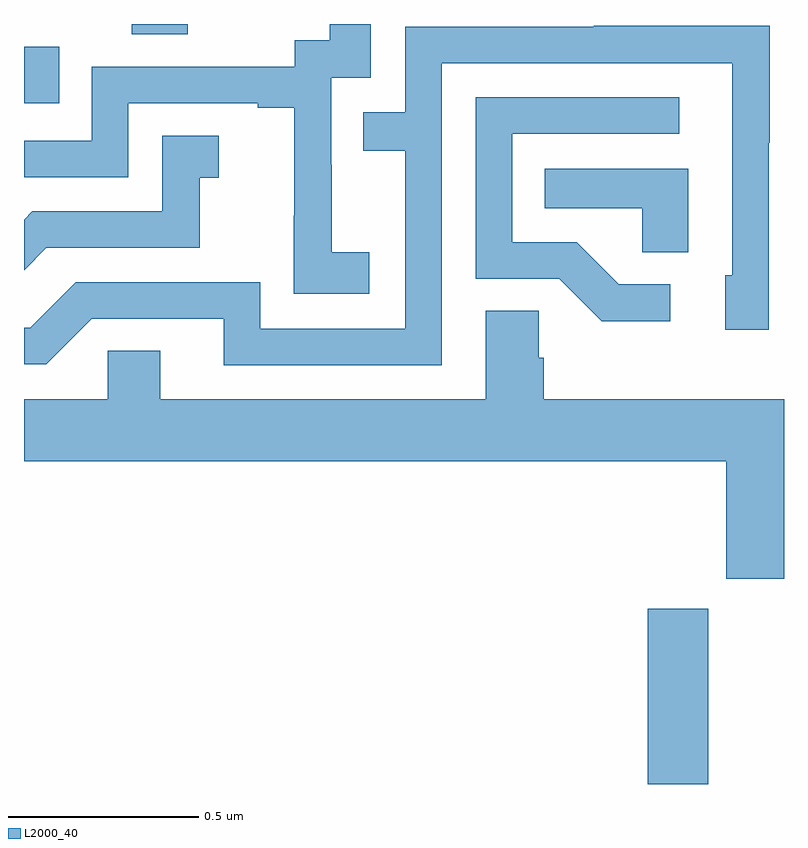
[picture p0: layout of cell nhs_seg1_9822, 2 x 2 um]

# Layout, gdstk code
import gdstk
lib = gdstk.Library(unit=1e-6, precision=1e-09)
def R(c, l, rs):  # rectangles x0, y0, x1, y1
    for r in rs: c.add(gdstk.rectangle(r[:2], r[2:], *l))
def P(c, l, *ps):  # polygons
    for p in ps: c.add(gdstk.Polygon(p, *l))
L2000_40 = (2000, 40)

nhs_seg1_9822 = lib.new_cell('nhs_seg1_9822')
R(nhs_seg1_9822, L2000_40, [(234.641,568.199,234.801,568.66), (233,569.991,233.093,570.139), (233.284,570.172,233.431,570.199)])
P(nhs_seg1_9822, L2000_40, [(233.908,569.599),(233.81,569.599),(233.81,569.828),(233.808,569.828),(233.808,570.057),(233.913,570.057),(233.913,570.199),(233.805,570.199),(233.805,570.156),(233.712,570.156),(233.712,570.087),(233.178,570.087),(233.178,569.892),(233,569.892),(233,569.796),(233.274,569.796),(233.274,569.991),(233.615,569.991),(233.615,569.979),(233.711,569.979),(233.711,569.695),(233.71,569.695),(233.71,569.489),(233.908,569.489)],
  [(234.099,570.096),(234.864,570.096),(234.864,569.538),(234.845,569.538),(234.845,569.394),(234.96,569.394),(234.96,569.887),(234.963,569.887),(234.963,570.194),(234.499,570.194),(234.499,570.192),(234.003,570.192),(234.003,569.967),(233.893,569.967),(233.893,569.866),(234.003,569.866),(234.003,569.397),(233.622,569.397),(233.622,569.52),(233.136,569.52),(233.016,569.4),(233,569.4),(233,569.304),(233.058,569.304),(233.178,569.424),(233.525,569.424),(233.525,569.301),(234.099,569.301)],
  [(234.7,569.514),(234.565,569.514),(234.454,569.625),(234.285,569.625),(234.285,569.91),(234.724,569.91),(234.724,570.006),(234.189,570.006),(234.189,569.529),(234.408,569.529),(234.521,569.417),(234.7,569.417)],
  [(233.059,569.61),(233.463,569.61),(233.463,569.795),(233.512,569.795),(233.512,569.905),(233.364,569.905),(233.364,569.706),(233.022,569.706),(233,569.684),(233,569.551)],
  [(234.748,569.818),(234.37,569.818),(234.37,569.714),(234.627,569.714),(234.627,569.599),(234.748,569.599)],
  [(234.848,568.739),(235,568.739),(235,569.212),(234.368,569.212),(234.368,569.321),(234.354,569.321),(234.354,569.444),(234.215,569.444),(234.215,569.212),(233.359,569.212),(233.359,569.339),(233.22,569.339),(233.22,569.212),(233,569.212),(233,569.048),(234.848,569.048)])

lib.write_gds('nhs_seg1_9822.gds')
